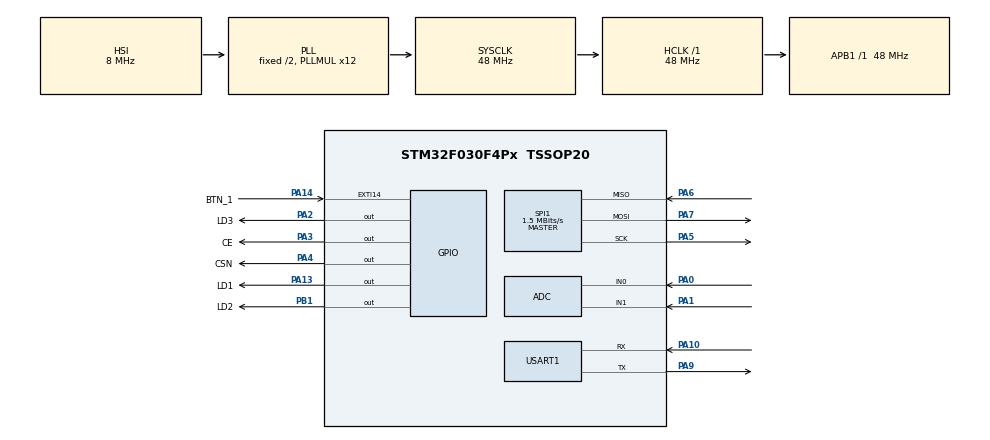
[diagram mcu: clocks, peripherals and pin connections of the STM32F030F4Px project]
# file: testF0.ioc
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Mcu.Family=STM32F0
Mcu.Name=STM32F030F4Px
Mcu.Package=TSSOP20
PA0.Mode=IN0
PA0.Signal=ADC_IN0
PA1.Mode=IN1
PA1.Signal=ADC_IN1
PA10.Mode=Asynchronous
PA10.Signal=USART1_RX
PA13.GPIO_Label=LD1
PA13.Signal=GPIO_Output
PA14.GPIO_Label=BTN_1
PA14.Signal=GPXTI14
PA2.GPIO_Label=LD3
PA2.Signal=GPIO_Output
PA3.GPIO_Label=CE
PA3.Signal=GPIO_Output
PA4.GPIO_Label=CSN
PA4.Signal=GPIO_Output
PA5.Mode=Full_Duplex_Master
PA5.Signal=SPI1_SCK
PA6.Mode=Full_Duplex_Master
PA6.Signal=SPI1_MISO
PA7.Mode=Full_Duplex_Master
PA7.Signal=SPI1_MOSI
PA9.Mode=Asynchronous
PA9.Signal=USART1_TX
PB1.GPIO_Label=LD2
PB1.Signal=GPIO_Output
PF0-OSC_IN.Mode=HSE-External-Oscillator
PF0-OSC_IN.Signal=RCC_OSC_IN
PF1-OSC_OUT.Mode=HSE-External-Oscillator
PF1-OSC_OUT.Signal=RCC_OSC_OUT
ProjectManager.HeapSize=0x200
ProjectManager.StackSize=0x400
ProjectManager.TargetToolchain=TrueSTUDIO
RCC.AHBFreq_Value=48000000
RCC.APB1Freq_Value=48000000
RCC.APB1TimFreq_Value=48000000
RCC.HCLKFreq_Value=48000000
RCC.HSE_VALUE=16000000
RCC.PLLMUL=RCC_PLL_MUL12
RCC.SYSCLKFreq_VALUE=48000000
RCC.SYSCLKSource=RCC_SYSCLKSOURCE_PLLCLK
SPI1.BaudRatePrescaler=SPI_BAUDRATEPRESCALER_32
SPI1.CalculateBaudRate=1.5 MBits/s
SPI1.Direction=SPI_DIRECTION_2LINES
SPI1.Mode=SPI_MODE_MASTER
SPI1.VirtualType=VM_MASTER
USART1.VirtualMode-Asynchronous=VM_ASYNC
board=custom

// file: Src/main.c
/**
  ******************************************************************************
  * @file           : main.c
  * @brief          : Main program body
  ******************************************************************************
  ** This notice applies to any and all portions of this file
  * that are not between comment pairs USER CODE BEGIN and
  * USER CODE END. Other portions of this file, whether
  * inserted by the user or by software development tools
  * are owned by their respective copyright owners.
  *
  * COPYRIGHT(c) 2019 STMicroelectronics
  *
  * Redistribution and use in source and binary forms, with or without modification,
  * are permitted provided that the following conditions are met:
  *   1. Redistributions of source code must retain the above copyright notice,
  *      this list of conditions and the following disclaimer.
  *   2. Redistributions in binary form must reproduce the above copyright notice,
  *      this list of conditions and the following disclaimer in the documentation
  *      and/or other materials provided with the distribution.
  *   3. Neither the name of STMicroelectronics nor the names of its contributors
  *      may be used to endorse or promote products derived from this software
  *      without specific prior written permission.
  *
  * THIS SOFTWARE IS PROVIDED BY THE COPYRIGHT HOLDERS AND CONTRIBUTORS "AS IS"
  * AND ANY EXPRESS OR IMPLIED WARRANTIES, INCLUDING, BUT NOT LIMITED TO, THE
  * IMPLIED WARRANTIES OF MERCHANTABILITY AND FITNESS FOR A PARTICULAR PURPOSE ARE
  * DISCLAIMED. IN NO EVENT SHALL THE COPYRIGHT HOLDER OR CONTRIBUTORS BE LIABLE
  * FOR ANY DIRECT, INDIRECT, INCIDENTAL, SPECIAL, EXEMPLARY, OR CONSEQUENTIAL
  * DAMAGES (INCLUDING, BUT NOT LIMITED TO, PROCUREMENT OF SUBSTITUTE GOODS OR
  * SERVICES; LOSS OF USE, DATA, OR PROFITS; OR BUSINESS INTERRUPTION) HOWEVER
  * CAUSED AND ON ANY THEORY OF LIABILITY, WHETHER IN CONTRACT, STRICT LIABILITY,
  * OR TORT (INCLUDING NEGLIGENCE OR OTHERWISE) ARISING IN ANY WAY OUT OF THE USE
  * OF THIS SOFTWARE, EVEN IF ADVISED OF THE POSSIBILITY OF SUCH DAMAGE.
  *
  ******************************************************************************
  */
#include "main.h"
#include "stm32f0xx_hal.h"

/* USER CODE BEGIN Includes */
#include "nrf24l01.h"
/* USER CODE END Includes */

ADC_HandleTypeDef hadc;

SPI_HandleTypeDef hspi1;

UART_HandleTypeDef huart1;

/* USER CODE BEGIN PV */
/* Private variables ---------------------------------------------------------*/

nrf24l01 nrf;
uint32_t rx_data;
uint32_t tx_data = 0xDEADBEEF;
static const uint8_t rx_address[5] = { 1, 2, 3, 4, 5 };
static const uint8_t tx_address[5] = { 1, 2, 3, 4, 6 };

uint8_t dataTx[15];
uint8_t sizeTx;

/* USER CODE END PV */

void SystemClock_Config(void);
static void MX_GPIO_Init(void);
static void MX_ADC_Init(void);
static void MX_SPI1_Init(void);
static void MX_USART1_UART_Init(void);

/* USER CODE BEGIN PFP */
/* Private function prototypes -----------------------------------------------*/
void nRF24L01_config();
/* USER CODE END PFP */

int main(void)
{

  /* MCU Configuration----------------------------------------------------------*/

  /* Reset of all peripherals, Initializes the Flash interface and the Systick. */
  HAL_Init();

  /* Configure the system clock */
  SystemClock_Config();

  /* Initialize all configured peripherals */
  MX_GPIO_Init();
  MX_ADC_Init();
  MX_SPI1_Init();
  MX_USART1_UART_Init();
  /* USER CODE BEGIN 2 */
nRF24L01_config();
  /* USER CODE END 2 */

  /* Infinite loop */
  while (1)
  {
HAL_Delay(100);
HAL_GPIO_TogglePin(CSN_GPIO_Port,CSN_Pin);
  }

}

void SystemClock_Config(void)
{

  RCC_OscInitTypeDef RCC_OscInitStruct;
  RCC_ClkInitTypeDef RCC_ClkInitStruct;
  RCC_PeriphCLKInitTypeDef PeriphClkInit;

    /**Initializes the CPU, AHB and APB busses clocks
    */
  RCC_OscInitStruct.OscillatorType = RCC_OSCILLATORTYPE_HSI|RCC_OSCILLATORTYPE_HSI14;
  RCC_OscInitStruct.HSIState = RCC_HSI_ON;
  RCC_OscInitStruct.HSI14State = RCC_HSI14_ON;
  RCC_OscInitStruct.HSICalibrationValue = 16;
  RCC_OscInitStruct.HSI14CalibrationValue = 16;
  RCC_OscInitStruct.PLL.PLLState = RCC_PLL_ON;
  RCC_OscInitStruct.PLL.PLLSource = RCC_PLLSOURCE_HSI;
  RCC_OscInitStruct.PLL.PLLMUL = RCC_PLL_MUL12;
  RCC_OscInitStruct.PLL.PREDIV = RCC_PREDIV_DIV1;
  if (HAL_RCC_OscConfig(&RCC_OscInitStruct) != HAL_OK)
  {
    _Error_Handler(__FILE__, __LINE__);
  }

    /**Initializes the CPU, AHB and APB busses clocks
    */
  RCC_ClkInitStruct.ClockType = RCC_CLOCKTYPE_HCLK|RCC_CLOCKTYPE_SYSCLK
                              |RCC_CLOCKTYPE_PCLK1;
  RCC_ClkInitStruct.SYSCLKSource = RCC_SYSCLKSOURCE_PLLCLK;
  RCC_ClkInitStruct.AHBCLKDivider = RCC_SYSCLK_DIV1;
  RCC_ClkInitStruct.APB1CLKDivider = RCC_HCLK_DIV1;

  if (HAL_RCC_ClockConfig(&RCC_ClkInitStruct, FLASH_LATENCY_1) != HAL_OK)
  {
    _Error_Handler(__FILE__, __LINE__);
  }

  PeriphClkInit.PeriphClockSelection = RCC_PERIPHCLK_USART1;
  PeriphClkInit.Usart1ClockSelection = RCC_USART1CLKSOURCE_PCLK1;
  if (HAL_RCCEx_PeriphCLKConfig(&PeriphClkInit) != HAL_OK)
  {
    _Error_Handler(__FILE__, __LINE__);
  }

    /**Configure the Systick interrupt time
    */
  HAL_SYSTICK_Config(HAL_RCC_GetHCLKFreq()/1000);

    /**Configure the Systick
    */
  HAL_SYSTICK_CLKSourceConfig(SYSTICK_CLKSOURCE_HCLK);

  /* SysTick_IRQn interrupt configuration */
  HAL_NVIC_SetPriority(SysTick_IRQn, 0, 0);
}

/* ADC init function */
static void MX_ADC_Init(void)
{

  ADC_ChannelConfTypeDef sConfig;

    /**Configure the global features of the ADC (Clock, Resolution, Data Alignment and number of conversion)
    */
  hadc.Instance = ADC1;
  hadc.Init.ClockPrescaler = ADC_CLOCK_ASYNC_DIV1;
  hadc.Init.Resolution = ADC_RESOLUTION_12B;
  hadc.Init.DataAlign = ADC_DATAALIGN_RIGHT;
  hadc.Init.ScanConvMode = ADC_SCAN_DIRECTION_FORWARD;
  hadc.Init.EOCSelection = ADC_EOC_SINGLE_CONV;
  hadc.Init.LowPowerAutoWait = DISABLE;
  hadc.Init.LowPowerAutoPowerOff = DISABLE;
  hadc.Init.ContinuousConvMode = DISABLE;
  hadc.Init.DiscontinuousConvMode = DISABLE;
  hadc.Init.ExternalTrigConv = ADC_SOFTWARE_START;
  hadc.Init.ExternalTrigConvEdge = ADC_EXTERNALTRIGCONVEDGE_NONE;
  hadc.Init.DMAContinuousRequests = DISABLE;
  hadc.Init.Overrun = ADC_OVR_DATA_PRESERVED;
  if (HAL_ADC_Init(&hadc) != HAL_OK)
  {
    _Error_Handler(__FILE__, __LINE__);
  }

    /**Configure for the selected ADC regular channel to be converted.
    */
  sConfig.Channel = ADC_CHANNEL_0;
  sConfig.Rank = ADC_RANK_CHANNEL_NUMBER;
  sConfig.SamplingTime = ADC_SAMPLETIME_1CYCLE_5;
  if (HAL_ADC_ConfigChannel(&hadc, &sConfig) != HAL_OK)
  {
    _Error_Handler(__FILE__, __LINE__);
  }

    /**Configure for the selected ADC regular channel to be converted.
    */
  sConfig.Channel = ADC_CHANNEL_1;
  if (HAL_ADC_ConfigChannel(&hadc, &sConfig) != HAL_OK)
  {
    _Error_Handler(__FILE__, __LINE__);
  }

}

/* SPI1 init function */
static void MX_SPI1_Init(void)
{

  /* SPI1 parameter configuration*/
  hspi1.Instance = SPI1;
  hspi1.Init.Mode = SPI_MODE_MASTER;
  hspi1.Init.Direction = SPI_DIRECTION_2LINES;
  hspi1.Init.DataSize = SPI_DATASIZE_8BIT;
  hspi1.Init.CLKPolarity = SPI_POLARITY_LOW;
  hspi1.Init.CLKPhase = SPI_PHASE_1EDGE;
  hspi1.Init.NSS = SPI_NSS_SOFT;
  hspi1.Init.BaudRatePrescaler = SPI_BAUDRATEPRESCALER_32;
  hspi1.Init.FirstBit = SPI_FIRSTBIT_MSB;
  hspi1.Init.TIMode = SPI_TIMODE_DISABLE;
  hspi1.Init.CRCCalculation = SPI_CRCCALCULATION_DISABLE;
  hspi1.Init.CRCPolynomial = 10;
  hspi1.Init.CRCLength = SPI_CRC_LENGTH_DATASIZE;
  hspi1.Init.NSSPMode = SPI_NSS_PULSE_ENABLE;
  if (HAL_SPI_Init(&hspi1) != HAL_OK)
  {
    _Error_Handler(__FILE__, __LINE__);
  }

}

/* USART1 init function */
static void MX_USART1_UART_Init(void)
{

  huart1.Instance = USART1;
  huart1.Init.BaudRate = 38400;
  huart1.Init.WordLength = UART_WORDLENGTH_8B;
  huart1.Init.StopBits = UART_STOPBITS_1;
  huart1.Init.Parity = UART_PARITY_NONE;
  huart1.Init.Mode = UART_MODE_TX_RX;
  huart1.Init.HwFlowCtl = UART_HWCONTROL_NONE;
  huart1.Init.OverSampling = UART_OVERSAMPLING_16;
  huart1.Init.OneBitSampling = UART_ONE_BIT_SAMPLE_DISABLE;
  huart1.AdvancedInit.AdvFeatureInit = UART_ADVFEATURE_NO_INIT;
  if (HAL_UART_Init(&huart1) != HAL_OK)
  {
    _Error_Handler(__FILE__, __LINE__);
  }

}

/** Configure pins as
        * Analog
        * Input
        * Output
        * EVENT_OUT
        * EXTI
*/
static void MX_GPIO_Init(void)
{

  GPIO_InitTypeDef GPIO_InitStruct;

  /* GPIO Ports Clock Enable */
  __HAL_RCC_GPIOF_CLK_ENABLE();
  __HAL_RCC_GPIOA_CLK_ENABLE();
  __HAL_RCC_GPIOB_CLK_ENABLE();

  /*Configure GPIO pin Output Level */
  HAL_GPIO_WritePin(GPIOA, LD3_Pin|CE_Pin|CSN_Pin|LD1_Pin, GPIO_PIN_RESET);

  /*Configure GPIO pin Output Level */
  HAL_GPIO_WritePin(LD2_GPIO_Port, LD2_Pin, GPIO_PIN_RESET);

  /*Configure GPIO pins : LD3_Pin CE_Pin CSN_Pin LD1_Pin */
  GPIO_InitStruct.Pin = LD3_Pin|CE_Pin|CSN_Pin|LD1_Pin;
  GPIO_InitStruct.Mode = GPIO_MODE_OUTPUT_PP;
  GPIO_InitStruct.Pull = GPIO_NOPULL;
  GPIO_InitStruct.Speed = GPIO_SPEED_FREQ_LOW;
  HAL_GPIO_Init(GPIOA, &GPIO_InitStruct);

  /*Configure GPIO pin : LD2_Pin */
  GPIO_InitStruct.Pin = LD2_Pin;
  GPIO_InitStruct.Mode = GPIO_MODE_OUTPUT_PP;
  GPIO_InitStruct.Pull = GPIO_NOPULL;
  GPIO_InitStruct.Speed = GPIO_SPEED_FREQ_LOW;
  HAL_GPIO_Init(LD2_GPIO_Port, &GPIO_InitStruct);

  /*Configure GPIO pin : BTN_1_Pin */
  GPIO_InitStruct.Pin = BTN_1_Pin;
  GPIO_InitStruct.Mode = GPIO_MODE_IT_RISING;
  GPIO_InitStruct.Pull = GPIO_NOPULL;
  HAL_GPIO_Init(BTN_1_GPIO_Port, &GPIO_InitStruct);

}

/* USER CODE BEGIN 4 */

void nRF24L01_config() {

	{
		nrf24l01_config config;
		config.data_rate = NRF_DATA_RATE_1MBPS;
		config.tx_power = NRF_TX_PWR_0dBm;
		config.crc_width = NRF_CRC_WIDTH_1B;
		config.addr_width = NRF_ADDR_WIDTH_5;
		config.payload_length = 4;    // maximum is 32 bytes
		config.retransmit_count = 15;   // maximum is 15 times
		config.retransmit_delay = 0x0F; // 4000us, LSB:250us
		config.rf_channel = 0;
		config.rx_address = rx_address;
		config.tx_address = tx_address;
		config.rx_buffer = (uint8_t*) &rx_data;

		config.spi = &hspi1;
		config.spi_timeout = 10; // milliseconds
		config.ce_port = CE_GPIO_Port;
		config.ce_pin = CE_Pin;
		config.csn_port = CSN_GPIO_Port;
		config.csn_pin = CSN_Pin;

		nrf_init(&nrf, &config);
	}

	uint32_t tx_data = 0xDEADBEEF;

	nrf_send_packet(&nrf, (uint8_t*) &tx_data);

}

int _write(int fd, char *str, int len) {
	//CDC_Transmit_FS((u8*)str, len);
	HAL_UART_Transmit(&huart1, (uint8_t *) str, len, 10);    // usart2 - debug
	return len;
}

/* USER CODE END 4 */

void _Error_Handler(char *file, int line)
{
  while(1)
  {
  }
}

/************************ (C) COPYRIGHT STMicroelectronics *****END OF FILE****/
